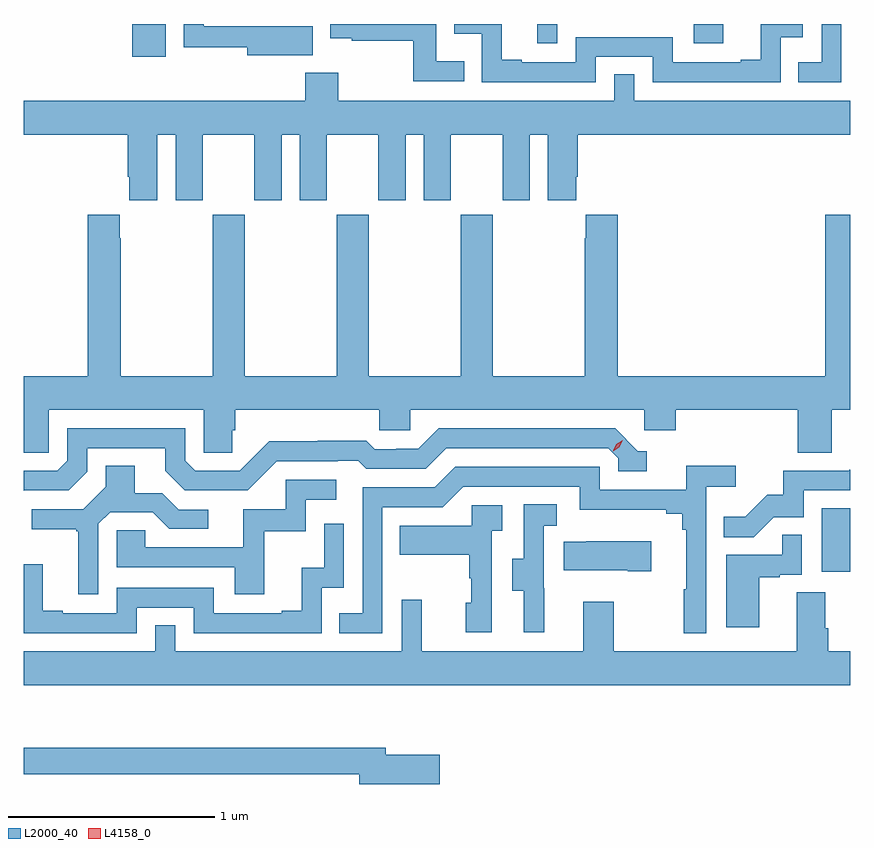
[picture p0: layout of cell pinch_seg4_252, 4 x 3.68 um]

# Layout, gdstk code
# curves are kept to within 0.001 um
import gdstk
lib = gdstk.Library(unit=1e-6, precision=1e-09)
def R(c, l, rs):  # rectangles x0, y0, x1, y1
    for r in rs: c.add(gdstk.rectangle(r[:2], r[2:], *l))
def P(c, l, *ps):  # polygons
    for p in ps: c.add(gdstk.Polygon(p, *l))
L2000_40 = (2000, 40)
L4158_0 = (4158, 0)

pinch_seg4_252 = lib.new_cell('pinch_seg4_252')
R(pinch_seg4_252, L2000_40, [(936.59,817.35,936.728,817.657), (933.254,819.84,933.415,819.999), (935.213,819.906,935.31,819.999), (935.969,819.906,936.113,819.999)])
P(pinch_seg4_252, L2000_40, [(934.127,819.988),(933.913,819.988),(933.913,819.987),(933.6,819.987),(933.6,819.999),(933.504,819.999),(933.504,819.886),(933.809,819.886),(933.809,819.848),(934.127,819.848)],
  [(934.859,819.82),(934.725,819.82),(934.725,819.999),(934.212,819.999),(934.212,819.929),(934.315,819.929),(934.315,819.918),(934.614,819.918),(934.614,819.723),(934.859,819.723)],
  [(936.684,819.999),(936.588,819.999),(936.588,819.813),(936.475,819.813),(936.475,819.717),(936.684,819.717)],
  [(935.496,819.84),(935.772,819.84),(935.772,819.717),(936.39,819.717),(936.39,819.936),(936.498,819.936),(936.498,819.999),(936.293,819.999),(936.293,819.826),(936.197,819.826),(936.197,819.813),(935.868,819.813),(935.868,819.936),(935.4,819.936),(935.4,819.813),(935.137,819.813),(935.137,819.826),(935.041,819.826),(935.041,819.999),(934.812,819.999),(934.812,819.953),(934.944,819.953),(934.944,819.717),(935.496,819.717)],
  [(933.376,819.464),(933.464,819.464),(933.464,819.147),(933.595,819.147),(933.595,819.464),(933.845,819.464),(933.845,819.147),(933.976,819.147),(933.976,819.464),(934.064,819.464),(934.064,819.147),(934.195,819.147),(934.195,819.464),(934.445,819.464),(934.445,819.147),(934.576,819.147),(934.576,819.464),(934.664,819.464),(934.664,819.147),(934.795,819.147),(934.795,819.464),(935.045,819.464),(935.045,819.147),(935.176,819.147),(935.176,819.464),(935.264,819.464),(935.264,819.147),(935.401,819.147),(935.401,819.259),(935.408,819.259),(935.408,819.464),(936.728,819.464),(936.728,819.628),(935.682,819.628),(935.682,819.755),(935.586,819.755),(935.586,819.628),(934.251,819.628),(934.251,819.763),(934.091,819.763),(934.091,819.628),(932.728,819.628),(932.728,819.464),(933.233,819.464),(933.233,819.259),(933.239,819.259),(933.239,819.147),(933.376,819.147)],
  [(935.73,818.034),(935.882,818.034),(935.882,818.132),(936.473,818.132),(936.473,817.924),(936.638,817.924),(936.638,818.132),(936.728,818.132),(936.728,819.076),(936.605,819.076),(936.605,818.296),(935.603,818.296),(935.603,819.076),(935.447,819.076),(935.447,818.963),(935.443,818.963),(935.443,818.296),(934.998,818.296),(934.998,819.076),(934.843,819.076),(934.843,818.296),(934.398,818.296),(934.398,819.076),(934.243,819.076),(934.243,818.296),(933.798,818.296),(933.798,819.076),(933.643,819.076),(933.643,818.296),(933.198,818.296),(933.198,818.963),(933.193,818.963),(933.193,819.076),(933.038,819.076),(933.038,818.296),(932.728,818.296),(932.728,817.924),(932.85,817.924),(932.85,818.132),(933.6,818.132),(933.6,817.924),(933.737,817.924),(933.737,818.034),(933.752,818.034),(933.752,818.132),(934.449,818.132),(934.449,818.034),(934.599,818.034),(934.599,818.132),(935.73,818.132)],
  [(932.73,817.743),(932.946,817.743),(933.036,817.833),(933.036,817.947),(933.413,817.947),(933.413,817.837),(933.507,817.743),(933.813,817.743),(933.954,817.884),(934.247,817.884),(934.247,817.887),(934.346,817.887),(934.385,817.848),(934.674,817.848),(934.773,817.947),(935.556,817.947),(935.604,817.899),(935.604,817.836),(935.743,817.836),(935.743,817.932),(935.7,817.932),(935.589,818.043),(934.736,818.043),(934.637,817.944),(934.53,817.944),(934.53,817.941),(934.427,817.941),(934.385,817.984),(934.152,817.984),(934.152,817.981),(933.916,817.981),(933.774,817.839),(933.558,817.839),(933.51,817.887),(933.51,818.043),(932.94,818.043),(932.94,817.887),(932.892,817.839),(932.728,817.839),(932.728,817.742)],
  [(934.464,817.662),(934.755,817.662),(934.854,817.761),(935.418,817.761),(935.418,817.649),(935.837,817.649),(935.837,817.63),(935.914,817.63),(935.914,817.553),(935.933,817.553),(935.933,817.265),(935.922,817.265),(935.922,817.053),(936.03,817.053),(936.03,817.76),(936.172,817.76),(936.172,817.862),(935.933,817.862),(935.933,817.746),(935.514,817.746),(935.514,817.857),(934.817,817.857),(934.718,817.758),(934.368,817.758),(934.368,817.149),(934.255,817.149),(934.255,817.053),(934.464,817.053)],
  [(933.09,817.581),(933.147,817.638),(933.353,817.638),(933.434,817.557),(933.622,817.557),(933.622,817.65),(933.48,817.65),(933.4,817.73),(933.265,817.73),(933.265,817.862),(933.125,817.862),(933.125,817.76),(933.018,817.653),(932.769,817.653),(932.769,817.556),(932.982,817.556),(932.982,817.545),(932.993,817.545),(932.993,817.242),(933.09,817.242)],
  [(936.357,817.614),(936.501,817.614),(936.501,817.743),(936.728,817.743),(936.728,817.844),(936.721,817.844),(936.721,817.839),(936.403,817.839),(936.403,817.722),(936.326,817.722),(936.219,817.615),(936.115,817.615),(936.115,817.516),(936.259,817.516)],
  [(933.893,817.545),(934.092,817.545),(934.092,817.698),(934.24,817.698),(934.24,817.794),(933.996,817.794),(933.996,817.653),(933.791,817.653),(933.791,817.467),(933.317,817.467),(933.317,817.551),(933.18,817.551),(933.18,817.371),(933.749,817.371),(933.749,817.242),(933.893,817.242)],
  [(935.246,817.269),(935.244,817.269),(935.244,817.573),(935.308,817.573),(935.308,817.676),(935.148,817.676),(935.148,817.413),(935.093,817.413),(935.093,817.258),(935.147,817.258),(935.147,817.056),(935.246,817.056)],
  [(934.992,817.547),(935.044,817.547),(935.044,817.671),(934.896,817.671),(934.896,817.573),(934.549,817.573),(934.549,817.433),(934.884,817.433),(934.884,817.319),(934.894,817.319),(934.894,817.2),(934.868,817.2),(934.868,817.056),(934.992,817.056)],
  [(933.276,817.176),(933.552,817.176),(933.552,817.053),(934.17,817.053),(934.17,817.272),(934.278,817.272),(934.278,817.582),(934.182,817.582),(934.182,817.37),(934.073,817.37),(934.073,817.162),(933.977,817.162),(933.977,817.149),(933.648,817.149),(933.648,817.272),(933.18,817.272),(933.18,817.149),(932.917,817.149),(932.917,817.162),(932.821,817.162),(932.821,817.387),(932.728,817.387),(932.728,817.053),(933.276,817.053)],
  [(936.286,817.323),(936.386,817.323),(936.386,817.335),(936.492,817.335),(936.492,817.529),(936.397,817.529),(936.397,817.431),(936.128,817.431),(936.128,817.08),(936.286,817.08)],
  [(935.764,817.498),(935.449,817.498),(935.449,817.495),(935.341,817.495),(935.341,817.358),(935.651,817.358),(935.651,817.351),(935.764,817.351)],
  [(936.728,816.964),(936.62,816.964),(936.62,817.076),(936.607,817.076),(936.607,817.25),(936.467,817.25),(936.467,816.964),(935.583,816.964),(935.583,817.204),(935.435,817.204),(935.435,816.964),(934.655,816.964),(934.655,817.213),(934.557,817.213),(934.557,816.964),(933.462,816.964),(933.462,817.091),(933.366,817.091),(933.366,816.964),(932.728,816.964),(932.728,816.8),(936.728,816.8)],
  [(934.741,816.465),(934.48,816.465),(934.48,816.499),(932.728,816.499),(932.728,816.37),(934.352,816.37),(934.352,816.323),(934.741,816.323)])
P(pinch_seg4_252, L4158_0, [(935.58,817.933),(935.58,817.934),(935.595,817.966),(935.626,817.986),(935.626,817.986),(935.626,817.986),(935.61,817.953),(935.58,817.933)])

lib.write_gds('pinch_seg4_252.gds')
